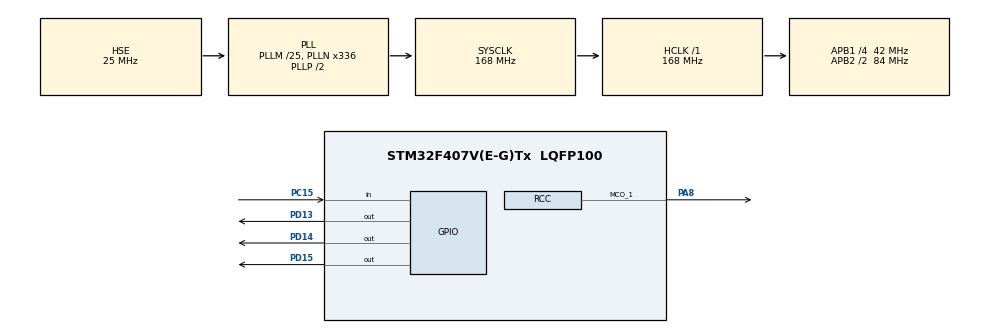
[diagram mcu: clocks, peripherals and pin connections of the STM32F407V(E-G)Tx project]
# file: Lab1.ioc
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Mcu.Family=STM32F4
Mcu.Name=STM32F407V(E-G)Tx
Mcu.Package=LQFP100
NVIC.PriorityGroup=NVIC_PRIORITYGROUP_4
PA13.Mode=JTAG_5_pins
PA13.Signal=SYS_JTMS-SWDIO
PA14.Mode=JTAG_5_pins
PA14.Signal=SYS_JTCK-SWCLK
PA15.Mode=JTAG_5_pins
PA15.Signal=SYS_JTDI
PA8.Mode=Clock-out-1
PA8.Signal=RCC_MCO_1
PB3.Mode=JTAG_5_pins
PB3.Signal=SYS_JTDO-SWO
PB4.Mode=JTAG_5_pins
PB4.Signal=SYS_JTRST
PC15-OSC32_OUT.Signal=GPIO_Input
PD13.GPIO_Speed=GPIO_SPEED_FREQ_HIGH
PD13.PinState=GPIO_PIN_RESET
PD13.Signal=GPIO_Output
PD14.GPIO_Speed=GPIO_SPEED_FREQ_HIGH
PD14.PinState=GPIO_PIN_RESET
PD14.Signal=GPIO_Output
PD15.GPIO_Speed=GPIO_SPEED_FREQ_HIGH
PD15.PinState=GPIO_PIN_RESET
PD15.Signal=GPIO_Output
PH0-OSC_IN.Mode=HSE-External-Oscillator
PH0-OSC_IN.Signal=RCC_OSC_IN
PH1-OSC_OUT.Mode=HSE-External-Oscillator
PH1-OSC_OUT.Signal=RCC_OSC_OUT
ProjectManager.HeapSize=0x200
ProjectManager.StackSize=0x400
ProjectManager.TargetToolchain=STM32CubeIDE
RCC.48MHZClocksFreq_Value=84000000
RCC.AHBFreq_Value=168000000
RCC.APB1CLKDivider=RCC_HCLK_DIV4
RCC.APB1Freq_Value=42000000
RCC.APB1TimFreq_Value=84000000
RCC.APB2CLKDivider=RCC_HCLK_DIV2
RCC.APB2Freq_Value=84000000
RCC.APB2TimFreq_Value=168000000
RCC.CortexFreq_Value=168000000
RCC.HCLKFreq_Value=168000000
RCC.HSE_VALUE=25000000
RCC.HSI_VALUE=16000000
RCC.LSE_VALUE=32768
RCC.PLLM=25
RCC.PLLN=336
RCC.PLLSourceVirtual=RCC_PLLSOURCE_HSE
RCC.SYSCLKFreq_VALUE=168000000
RCC.SYSCLKSource=RCC_SYSCLKSOURCE_PLLCLK
RCC.VCOOutputFreq_Value=336000000
board=custom

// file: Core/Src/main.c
/* USER CODE BEGIN Header */
/**
  ******************************************************************************
  * @file           : main.c
  * @brief          : Main program body
  ******************************************************************************
  * @attention
  *
  * Copyright (c) 2023 STMicroelectronics.
  * All rights reserved.
  *
  * This software is licensed under terms that can be found in the LICENSE file
  * in the root directory of this software component.
  * If no LICENSE file comes with this software, it is provided AS-IS.
  *
  ******************************************************************************
  */
/* USER CODE END Header */
#include "main.h"
#include "gpio.h"

void SystemClock_Config(void);

/* USER CODE BEGIN 0 */

int button_checker(int time) {
	for (int i = 0; i < time/10; i++) {
		int button_status = HAL_GPIO_ReadPin(GPIOC, GPIO_PIN_15);
		HAL_Delay(10);
		int new_button_status = HAL_GPIO_ReadPin(GPIOC, GPIO_PIN_15);
		if (button_status == 0 && new_button_status == 0) {
			return 1;
		}
	}
	return 0;
}

int press_checker(int time) {
	for (int i = 0; i < time/10; i++) {
		int button_status = HAL_GPIO_ReadPin(GPIOC, GPIO_PIN_15);
		HAL_Delay(10);
		int new_button_status = HAL_GPIO_ReadPin(GPIOC, GPIO_PIN_15);
		if (button_status == 1 && new_button_status == 1) {
			return 1;
		}
	}
	return 0;
}

/* USER CODE END 0 */

int main(void)
{

  /* MCU Configuration--------------------------------------------------------*/

  /* Reset of all peripherals, Initializes the Flash interface and the Systick. */
  HAL_Init();

  /* Configure the system clock */
  SystemClock_Config();

  /* Initialize all configured peripherals */
  MX_GPIO_Init();

  /* Infinite loop */
  /* USER CODE BEGIN WHILE */
  int mode = 0;
  int speed = 100;
  int pressed = 0;
  int statuses[4] = {0, 0, 0, 0};
  while (1)
  {
	  int button_state = HAL_GPIO_ReadPin(GPIOC, GPIO_PIN_15);
	  while (button_state) {
		  pressed = 0;
		  if (statuses[mode] != 1 && statuses[mode] != 3) {
		  	  HAL_GPIO_TogglePin(GPIOD, GPIO_PIN_13);
		  	  statuses[mode]++;
		  	  if (statuses[mode] > 3) {
			  	  statuses[mode] = 0;
		  	  }
		  	  if (button_checker(speed)) {
			  	  break;
		  	  }
		  }
		  HAL_GPIO_TogglePin(GPIOD, GPIO_PIN_15);
		  statuses[mode]++;
		  if (statuses[mode] > 3) {
			  statuses[mode] = 0;
		  }
		  if (button_checker(speed)) {
			  break;
		  }
		  button_state = HAL_GPIO_ReadPin(GPIOC, GPIO_PIN_15);
	  }
	  if (pressed) {
		  HAL_GPIO_TogglePin(GPIOD, GPIO_PIN_13);
		  if (press_checker(speed)) {
			  continue;
		  }
		  HAL_GPIO_TogglePin(GPIOD, GPIO_PIN_15);
		  if (press_checker(speed)) {
			  continue;
		  }
		  continue;
	  }
	  mode++;
	  if (mode > 3) {
		  mode = 0;
	  }
	  if (mode == 0) {
		  speed = 100;
	  } else if (mode == 1) {
		  speed = 300;
	  } else if (mode == 2) {
		  speed = 600;
	  } else if (mode == 3) {
		  speed = 1000;
	  }
	  HAL_GPIO_WritePin(GPIOD, GPIO_PIN_13, GPIO_PIN_RESET);
	  HAL_GPIO_WritePin(GPIOD, GPIO_PIN_15, GPIO_PIN_RESET);
	  if (statuses[mode] == 1 || statuses[mode] == 2) {
		  HAL_GPIO_WritePin(GPIOD, GPIO_PIN_13, GPIO_PIN_SET);
	  }
	  if (statuses[mode] == 2 || statuses[mode] == 3) {
		  HAL_GPIO_WritePin(GPIOD, GPIO_PIN_15, GPIO_PIN_SET);
	  }
	  pressed = 1;
    /* USER CODE END WHILE */

  }
}

void SystemClock_Config(void)
{
  RCC_OscInitTypeDef RCC_OscInitStruct = {0};
  RCC_ClkInitTypeDef RCC_ClkInitStruct = {0};

  /** Configure the main internal regulator output voltage
  */
  __HAL_RCC_PWR_CLK_ENABLE();
  __HAL_PWR_VOLTAGESCALING_CONFIG(PWR_REGULATOR_VOLTAGE_SCALE1);

  /** Initializes the RCC Oscillators according to the specified parameters
  * in the RCC_OscInitTypeDef structure.
  */
  RCC_OscInitStruct.OscillatorType = RCC_OSCILLATORTYPE_HSI|RCC_OSCILLATORTYPE_HSE;
  RCC_OscInitStruct.HSEState = RCC_HSE_ON;
  RCC_OscInitStruct.HSIState = RCC_HSI_ON;
  RCC_OscInitStruct.HSICalibrationValue = RCC_HSICALIBRATION_DEFAULT;
  RCC_OscInitStruct.PLL.PLLState = RCC_PLL_ON;
  RCC_OscInitStruct.PLL.PLLSource = RCC_PLLSOURCE_HSE;
  RCC_OscInitStruct.PLL.PLLM = 25;
  RCC_OscInitStruct.PLL.PLLN = 336;
  RCC_OscInitStruct.PLL.PLLP = RCC_PLLP_DIV2;
  RCC_OscInitStruct.PLL.PLLQ = 4;
  if (HAL_RCC_OscConfig(&RCC_OscInitStruct) != HAL_OK)
  {
    Error_Handler();
  }

  /** Initializes the CPU, AHB and APB buses clocks
  */
  RCC_ClkInitStruct.ClockType = RCC_CLOCKTYPE_HCLK|RCC_CLOCKTYPE_SYSCLK
                              |RCC_CLOCKTYPE_PCLK1|RCC_CLOCKTYPE_PCLK2;
  RCC_ClkInitStruct.SYSCLKSource = RCC_SYSCLKSOURCE_PLLCLK;
  RCC_ClkInitStruct.AHBCLKDivider = RCC_SYSCLK_DIV1;
  RCC_ClkInitStruct.APB1CLKDivider = RCC_HCLK_DIV4;
  RCC_ClkInitStruct.APB2CLKDivider = RCC_HCLK_DIV2;

  if (HAL_RCC_ClockConfig(&RCC_ClkInitStruct, FLASH_LATENCY_5) != HAL_OK)
  {
    Error_Handler();
  }
  HAL_RCC_MCOConfig(RCC_MCO1, RCC_MCO1SOURCE_HSI, RCC_MCODIV_1);
}

void Error_Handler(void)
{
  __disable_irq();
  while (1)
  {
  }
}
